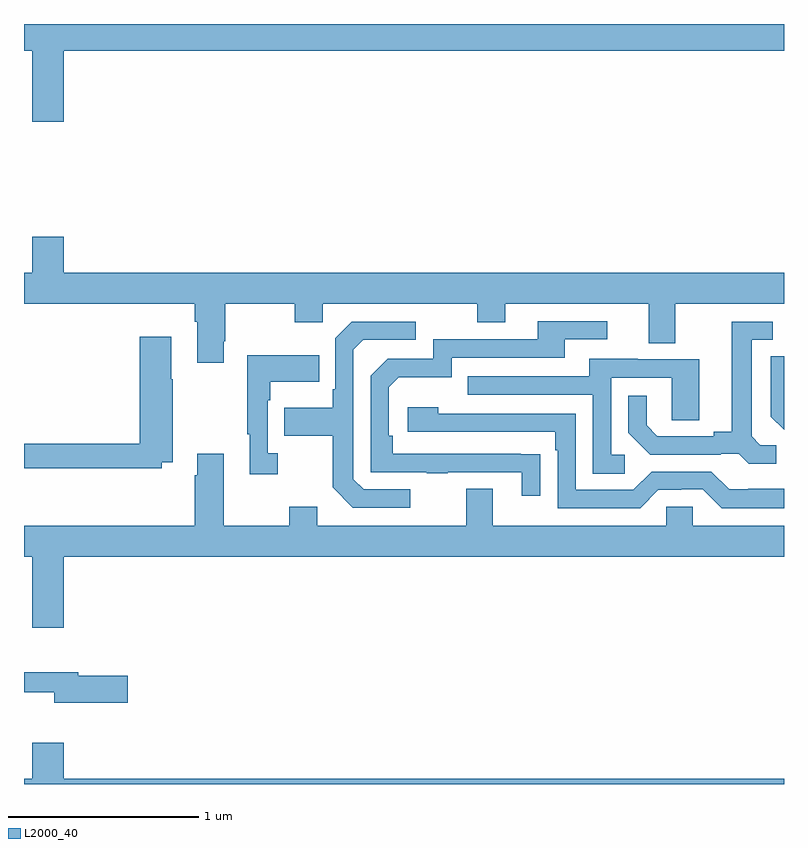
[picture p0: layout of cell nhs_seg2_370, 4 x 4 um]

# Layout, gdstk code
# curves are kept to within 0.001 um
import gdstk
lib = gdstk.Library(unit=1e-6, precision=1e-09)
def P(c, l, *ps):  # polygons
    for p in ps: c.add(gdstk.Polygon(p, *l))
L2000_40 = (2000, 40)

nhs_seg2_370 = lib.new_cell('nhs_seg2_370')
P(nhs_seg2_370, L2000_40, [(129.208,623.66),(133,623.66),(133,623.8),(129,623.8),(129,623.66),(129.044,623.66),(129.044,623.286),(129.208,623.286)],
  [(130.051,622.129),(130.059,622.129),(130.059,622.328),(130.426,622.328),(130.426,622.229),(130.572,622.229),(130.572,622.328),(131.386,622.328),(131.386,622.229),(131.533,622.229),(131.533,622.328),(132.287,622.328),(132.287,622.12),(132.427,622.12),(132.427,622.328),(133,622.328),(133,622.492),(129.208,622.492),(129.208,622.681),(129.044,622.681),(129.044,622.492),(129,622.492),(129,622.328),(129.899,622.328),(129.899,622.232),(129.911,622.232),(129.911,622.017),(130.051,622.017)],
  [(131.717,621.536),(130.94,621.537),(130.94,621.634),(130.92,621.634),(130.92,621.888),(130.973,621.941),(131.25,621.941),(131.25,622.044),(131.845,622.044),(131.845,622.14),(132.07,622.14),(132.07,622.236),(131.705,622.236),(131.705,622.14),(131.154,622.14),(131.154,622.038),(130.914,622.038),(130.824,621.948),(130.824,621.441),(131.119,621.441),(131.119,621.436),(131.231,621.436),(131.231,621.441),(131.621,621.441),(131.621,621.318),(131.717,621.318)],
  [(131.032,621.351),(130.788,621.351),(130.734,621.405),(130.734,622.086),(130.785,622.137),(131.062,622.137),(131.062,622.233),(130.725,622.233),(130.638,622.146),(130.638,621.877),(130.626,621.877),(130.626,621.781),(130.369,621.781),(130.369,621.634),(130.626,621.634),(130.626,621.361),(130.731,621.255),(131.032,621.255)],
  [(132.958,621.582),(132.876,621.582),(132.829,621.629),(132.829,622.137),(132.94,622.137),(132.94,622.233),(132.725,622.233),(132.725,621.653),(132.629,621.653),(132.629,621.63),(132.334,621.63),(132.277,621.687),(132.277,621.844),(132.18,621.844),(132.18,621.65),(132.296,621.534),(132.668,621.534),(132.668,621.537),(132.762,621.537),(132.814,621.485),(132.958,621.485)],
  [(129.726,621.494),(129.783,621.494),(129.783,621.929),(129.775,621.929),(129.775,622.153),(129.608,622.153),(129.608,621.59),(129,621.59),(129,621.462),(129.726,621.462)],
  [(130.336,621.542),(130.284,621.542),(130.284,621.821),(130.297,621.821),(130.297,621.917),(130.553,621.917),(130.553,622.057),(130.176,622.057),(130.176,621.641),(130.187,621.641),(130.187,621.429),(130.336,621.429)],
  [(133,622.052),(132.93,622.052),(132.93,621.734),(133,621.664)],
  [(132.163,621.534),(132.09,621.534),(132.09,621.939),(132.408,621.939),(132.408,621.715),(132.553,621.715),(132.553,622.035),(132.229,622.035),(132.229,622.039),(131.975,622.039),(131.975,621.945),(131.335,621.945),(131.335,621.849),(131.994,621.849),(131.994,621.433),(132.163,621.433)],
  [(133,621.355),(132.811,621.355),(132.811,621.351),(132.711,621.351),(132.618,621.444),(132.303,621.444),(132.207,621.348),(131.904,621.348),(131.904,621.75),(131.18,621.75),(131.18,621.784),(131.019,621.784),(131.019,621.654),(131.795,621.654),(131.795,621.557),(131.808,621.557),(131.808,621.252),(132.243,621.252),(132.339,621.348),(132.458,621.348),(132.458,621.351),(132.573,621.351),(132.673,621.251),(133,621.251)],
  [(129.208,620.996),(133,620.996),(133,621.16),(132.519,621.16),(132.519,621.258),(132.381,621.258),(132.381,621.16),(131.467,621.16),(131.467,621.355),(131.327,621.355),(131.327,621.16),(130.543,621.16),(130.543,621.259),(130.396,621.259),(130.396,621.16),(130.051,621.16),(130.051,621.538),(129.911,621.538),(129.911,621.425),(129.899,621.425),(129.899,621.16),(129,621.16),(129,620.996),(129.044,620.996),(129.044,620.622),(129.208,620.622)],
  [(129.547,620.369),(129.286,620.369),(129.286,620.388),(129,620.388),(129,620.284),(129.158,620.284),(129.158,620.227),(129.547,620.227)],
  [(133,619.828),(129.208,619.828),(129.208,620.017),(129.044,620.017),(129.044,619.828),(129,619.828),(129,619.8),(133,619.8)])

lib.write_gds('nhs_seg2_370.gds')
